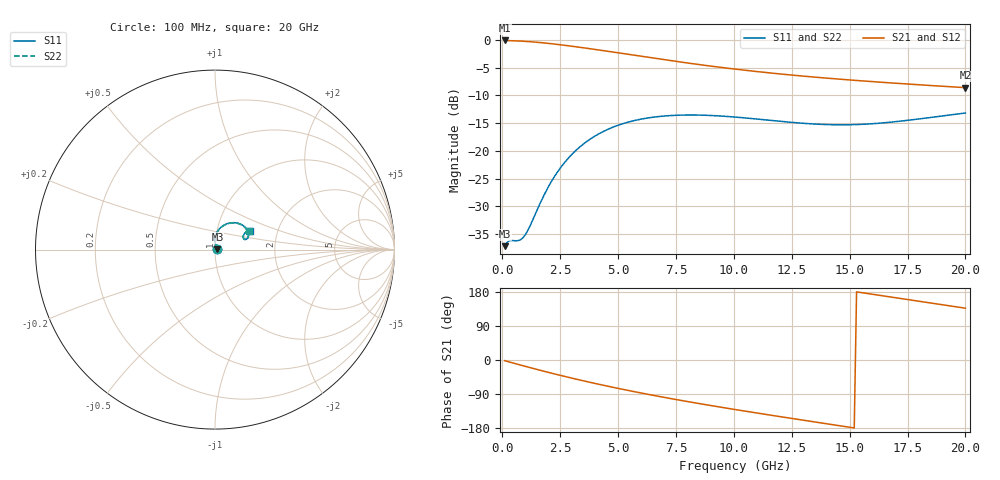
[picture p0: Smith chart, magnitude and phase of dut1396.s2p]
! Touchstone file exported from HFSS 2024.1.0
!  File:  C:/UserFiles/LocalFiles/RDL_TSV_Batchsim/temp_RDL_TSV_1396_1780405192.aedt
!  Generated:  09:14:26 PM Jun  2, 2026
!  Design:  RDL_TSV
!  Project:  temp_RDL_TSV_1396_1780405192
!  Setup:  Setup1
!  Solution:  Sweep
! Variables:
!  dtsv = 6.46um
!  hbump = 3um
!  htsv = 72.9um
!  ldown = 321.08um
!  lrdl = 634.13um
!  p = 40
!  p1 = 40.85um
!  rhole = 10um
!  subl = 3499.76um
!  t = 450um
!  tdown = 4.88um
!  trdl = 4.8um
!  viad = 10um
!  wdown = 13.68um
!  wrdl = 28.36um
!  xbump = 18um
# GHz S MA R 50.000000
! Terminal data exported
! Port[1] = TM1_1_T1
! Port[2] = TM1_4_T1
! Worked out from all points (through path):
!   200 points, 100 MHz to 20 GHz, reference 50 ohm
!   highest |S21| = -0.12 dB at 100 MHz (marker M1); lowest = -8.6 dB at 20 GHz (marker M2)
!   group delay of S21, straight-line fit = 29.7 ps
!   lowest |S11| = -37.1 dB at 100 MHz (marker M3), VSWR 1.03, Z = 51.4 + j0.255 ohm
!   |S11| at or under -10 dB: start of sweep to end of sweep
!   |S22| runs from -37.1 to -13.2 dB; largest |S21 - S12| = 1.1e-14
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0.1  0.01388 10.3  0.9861 -1.8  0.9861 -1.8  0.01389 10.3
! Gamma 0 0 0 0
! Port Impedance 50 0 50 0
0.2  0.01499 15.1  0.9845 -3.5  0.9845 -3.5  0.01499 15.0
0.3  0.0155 18.3  0.9829 -5.2  0.9829 -5.2  0.01549 18.3
0.7  0.0156 38.5  0.9755 -11.9  0.9755 -11.9  0.01561 38.4
0.9  0.01659 53.0  0.9705 -15.2  0.9705 -15.2  0.01659 52.8
1.2  0.02113 72.8  0.9611 -20.1  0.9611 -20.1  0.0211 72.5
1.9  0.04382 90.4  0.9323 -31.3  0.9323 -31.3  0.04362 90.1
2.3  0.06088 90.4  0.9127 -37.5  0.9127 -37.5  0.06055 90.1
2.9  0.08825 85.7  0.8809 -46.4  0.8809 -46.4  0.08774 85.4
3.5  0.1152 78.9  0.8475 -54.9  0.8475 -54.9  0.1145 78.7
4.2  0.1436 70.3  0.808 -64.5  0.808 -64.5  0.1427 70.1
5  0.1701 60.7  0.7634 -74.9  0.7634 -74.9  0.169 60.6
5.8  0.1895 51.9  0.7207 -84.8  0.7207 -84.8  0.1882 51.8
6.8  0.2043 42.3  0.671 -96.5  0.671 -96.5  0.2028 42.1
8.4  0.2102 30.2  0.602 -113.9  0.602 -113.9  0.2086 30.0
10.1  0.2013 21.9  0.5432 -131.2  0.5432 -131.2  0.1995 21.7
11.7  0.1872 18.5  0.4996 -146.6  0.4996 -146.6  0.1854 18.3
13.4  0.1749 19.3  0.4629 -162.6  0.4629 -162.6  0.1731 19.3
15  0.1719 23.1  0.4349 -177.5  0.4349 -177.5  0.1702 23.2
16.7  0.1807 27.3  0.4101 166.9  0.4101 166.9  0.1792 27.5
18.4  0.1988 29.3  0.3887 151.3  0.3887 151.3  0.1975 29.5
20  0.2191 28.7  0.3708 136.7  0.3708 136.7  0.2181 28.8
